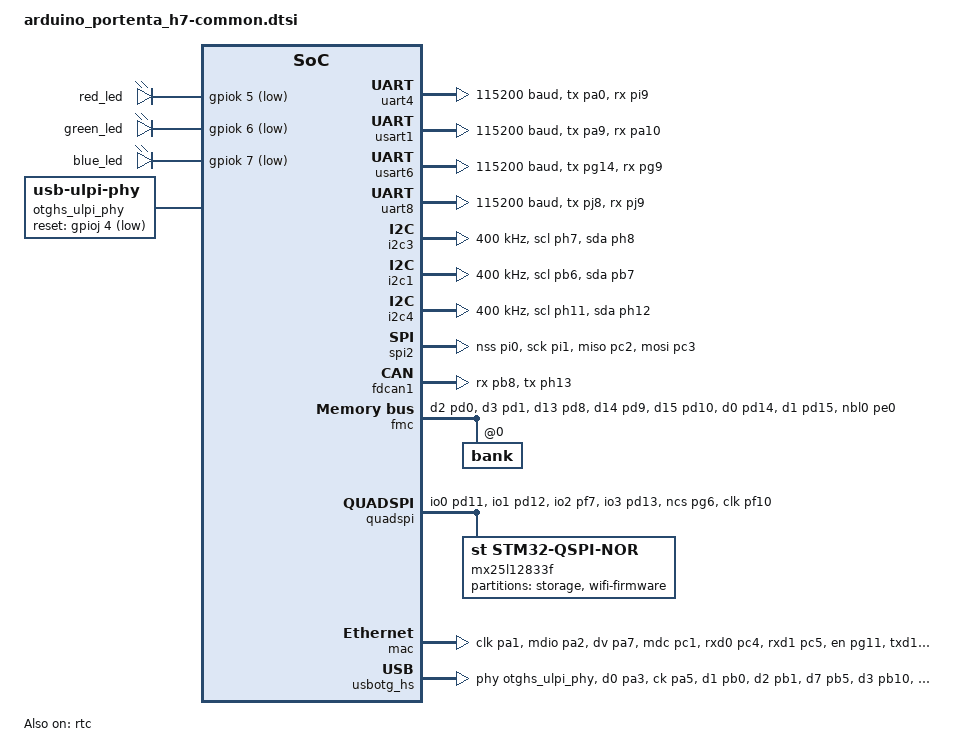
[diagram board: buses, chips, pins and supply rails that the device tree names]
/*
 * Copyright (c) 2022 Benjamin Björnsson <benjamin.bjornsson@gmail.com>.
 *
 * SPDX-License-Identifier: Apache-2.0
 */

#include <mem.h>

/ {
	leds {
		compatible = "gpio-leds";
		red_led: led_0 {
			gpios = <&gpiok 5 GPIO_ACTIVE_LOW>;
		};
		green_led: led_1 {
			gpios = <&gpiok 6 GPIO_ACTIVE_LOW>;
		};
		blue_led: led_2 {
			gpios = <&gpiok 7 GPIO_ACTIVE_LOW>;
		};
	};

	otghs_ulpi_phy: otghs_ulpis_phy {
		compatible = "usb-ulpi-phy";
		reset-gpios = < &gpioj 4 GPIO_ACTIVE_LOW >;
		#phy-cells = <0>;
	};

	aliases {
		led0 = &red_led;
		led1 = &green_led;
		led2 = &blue_led;
	};
};

&clk_hsi48 {
	/* HSI48 required for USB */
	status = "okay";
};

&rcc {
	d1cpre = < 1 >;
	hpre = < 2 >;
	d1ppre = < 2 >;
	d2ppre1 = < 2 >;
	d2ppre2 = < 2 >;
	d3ppre = < 2 >;
};

/* UART0 in datasheet */
&uart4 {
	pinctrl-0 = <&uart4_tx_pa0 &uart4_rx_pi9>;
	pinctrl-names = "default";
	current-speed = <115200>;
};

/* UART1 in datasheet */
&usart1 {
	pinctrl-0 = <&usart1_tx_pa9 &usart1_rx_pa10>;
	pinctrl-names = "default";
	current-speed = <115200>;
};

/* UART2 in datasheet */
&usart6 {
	pinctrl-0 = <&usart6_tx_pg14 &usart6_rx_pg9>;
	pinctrl-names = "default";
	current-speed = <115200>;
};

/* UART3 in datasheet */
&uart8 {
	pinctrl-0 = <&uart8_tx_pj8 &uart8_rx_pj9>;
	pinctrl-names = "default";
	current-speed = <115200>;
};

/* I2C0 in datasheet */
&i2c3 {
	pinctrl-0 = <&i2c3_scl_ph7 &i2c3_sda_ph8>;
	pinctrl-names = "default";
	clock-frequency = <I2C_BITRATE_FAST>;
};

/* I2C1 in datasheet */
&i2c1 {
	pinctrl-0 = <&i2c1_scl_pb6 &i2c1_sda_pb7>;
	pinctrl-names = "default";
	clock-frequency = <I2C_BITRATE_FAST>;
};

/* I2C2 in datasheet */
&i2c4 {
	pinctrl-0 = <&i2c4_scl_ph11 &i2c4_sda_ph12>;
	pinctrl-names = "default";
	clock-frequency = <I2C_BITRATE_FAST>;
};

/* I2C3 in datasheet */
&i2c3 {
	pinctrl-0 = <&i2c3_scl_ph7 &i2c3_sda_ph8>;
	pinctrl-names = "default";
	clock-frequency = <I2C_BITRATE_FAST>;
};

/* SPI1 in datasheet */
&spi2 {
	pinctrl-0 = <&spi2_nss_pi0 &spi2_sck_pi1
		     &spi2_miso_pc2 &spi2_mosi_pc3>;
	pinctrl-names = "default";
};

&fdcan1 {
	pinctrl-0 = <&fdcan1_rx_pb8 &fdcan1_tx_ph13>;
	pinctrl-names = "default";
	clocks = <&rcc STM32_CLOCK_BUS_APB1_2 0x00000100>,
		 <&rcc STM32_SRC_PLL1_Q FDCAN_SEL(1)>;
};

&rtc {
	status = "okay";
};

&mailbox {
	status = "okay";
};

&fmc {
	status = "okay";
	pinctrl-0 = < &fmc_d2_pd0 &fmc_d3_pd1 &fmc_d13_pd8 &fmc_d14_pd9
		      &fmc_d15_pd10 &fmc_d0_pd14 &fmc_d1_pd15 &fmc_nbl0_pe0
		      &fmc_nbl1_pe1 &fmc_d4_pe7 &fmc_d5_pe8 &fmc_d6_pe9
		      &fmc_d7_pe10 &fmc_d8_pe11 &fmc_d9_pe12 &fmc_d10_pe13
		      &fmc_d11_pe14 &fmc_d12_pe15 &fmc_a0_pf0 &fmc_a1_pf1
		      &fmc_a2_pf2 &fmc_a3_pf3 &fmc_a4_pf4 &fmc_a5_pf5
		      &fmc_sdnras_pf11 &fmc_a6_pf12 &fmc_a7_pf13 &fmc_a8_pf14
		      &fmc_a9_pf15 &fmc_a10_pg0 &fmc_a11_pg1 &fmc_a12_pg2
		      &fmc_a14_pg4 /* FMC_BA0 */ &fmc_a15_pg5 /* FMC_BA1 */
		      &fmc_sdclk_pg8 &fmc_sdncas_pg15 &fmc_sdcke0_ph2 &fmc_sdne0_ph3
		      &fmc_sdnwe_ph5 >;
	pinctrl-names = "default";
	st,mem-swap = "disable";
	sdram {
		status = "okay";
		mode-register = < 0x220 >;

		/** From Arduino github repository:
		 *  RefreshRate = 64 ms / 8192 cyc = 7.8125 us/cyc
		 *  RefreshCycles = 7.8125 us * 90 MHz = 703
		 *  According to the formula on p.1665 of the reference manual,
		 *  we also need to subtract 20 from the value, so the target
		 *  refresh rate is 703 - 20 = 683.
		 */
		refresh-rate = < 683 >;
		num-auto-refresh = < 8 >;

		bank@0 {
			reg = < 0 >;
			st,sdram-control = < STM32_FMC_SDRAM_NC_8
					     STM32_FMC_SDRAM_NR_12
					     STM32_FMC_SDRAM_MWID_16
					     STM32_FMC_SDRAM_NB_4
					     STM32_FMC_SDRAM_CAS_2
					     STM32_FMC_SDRAM_SDCLK_PERIOD_2
					     STM32_FMC_SDRAM_RBURST_ENABLE
					     STM32_FMC_SDRAM_RPIPE_0 >;
			st,sdram-timing = < 2 7 5 7 2 3 3 >;
		};
	};
};

&quadspi {
	pinctrl-0 = < &quadspi_bk1_io0_pd11
		      &quadspi_bk1_io1_pd12
		      &quadspi_bk1_io2_pf7
		      &quadspi_bk1_io3_pd13
		      &quadspi_bk1_ncs_pg6
		      &quadspi_clk_pf10 >;
	pinctrl-names = "default";
	status = "okay";

	mx25l12833f: qspi-nor-flash@90000000 {
		compatible = "st,stm32-qspi-nor";
		reg = < 0x90000000 DT_SIZE_M(16) >; /* 128 MBits */
		qspi-max-frequency = < 40000000 >;
		sfdp-bfp = [ e5 20 f1 ff  ff ff ff 07  44 eb 08 6b  08 3b 04 bb
			     fe ff ff ff  ff ff 00 ff  ff ff 44 eb  0c 20 0f 52
			     10 d8 00 ff  82 41 bd 00  81 e5 7b c6  44 03 67 38
			     30 b0 30 b0  f7 bd d5 5c  4a be 29 ff  e1 d0 ff ff ];
		jedec-id = [ 66 66 20 ];
		spi-bus-width = <4>;
		status = "okay";

		partitions {
			compatible = "fixed-partitions";
			#address-cells = < 1 >;
			#size-cells = < 1 >;

			storage_partition: partition@0 {
				label = "storage";
				reg=< 0x0 DT_SIZE_K(15872) >;
			};

			wifi_firmware: partition@f80000 {
				label = "wifi-firmware";
				reg = < 0xf80000 DT_SIZE_K(512) >;
			};
		};
	};
};

&mac {
	pinctrl-0 = < &eth_ref_clk_pa1
		      &eth_mdio_pa2
		      &eth_crs_dv_pa7
		      &eth_mdc_pc1
		      &eth_rxd0_pc4
		      &eth_rxd1_pc5
		      &eth_tx_en_pg11
		      &eth_txd1_pg12
		      &eth_txd0_pg13 >;
	pinctrl-names = "default";
};

zephyr_udc0: &usbotg_hs {
	pinctrl-0 = < &usb_otg_hs_ulpi_d0_pa3
		      &usb_otg_hs_ulpi_ck_pa5
		      &usb_otg_hs_ulpi_d1_pb0
		      &usb_otg_hs_ulpi_d2_pb1
		      &usb_otg_hs_ulpi_d7_pb5
		      &usb_otg_hs_ulpi_d3_pb10
		      &usb_otg_hs_ulpi_d4_pb11
		      &usb_otg_hs_ulpi_d5_pb12
		      &usb_otg_hs_ulpi_d6_pb13
		      &usb_otg_hs_ulpi_stp_pc0
		      &usb_otg_hs_ulpi_nxt_ph4
		      &usb_otg_hs_ulpi_dir_pi11 >;
	pinctrl-names = "default";
	phys = < &otghs_ulpi_phy >;
	maximum-speed = "high-speed";
	/* Include the USB1ULPIEN | USB1OTGHSULPIEN clock enable bit */
	clocks = <&rcc STM32_CLOCK_BUS_AHB1 0x6000000>,
		 <&rcc STM32_SRC_HSI48 USB_SEL(3)>;
	num-bidir-endpoints = < 4 >;
	status = "okay";
};
